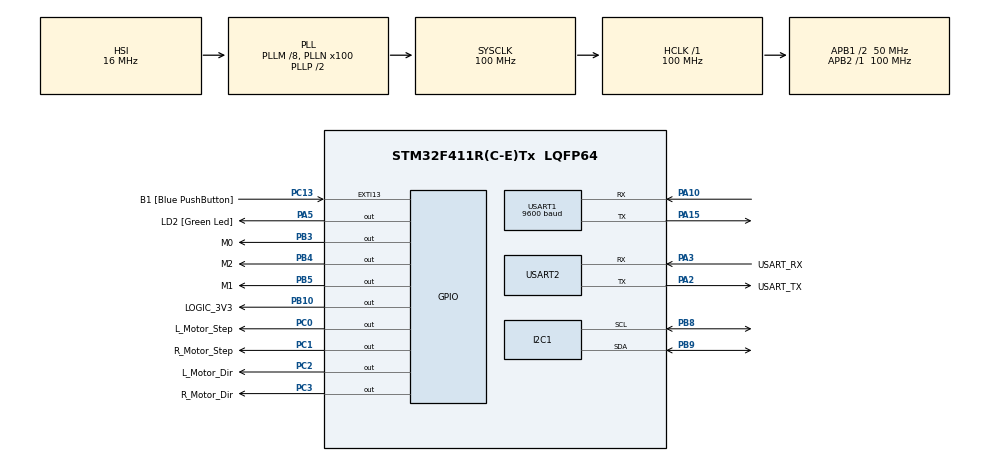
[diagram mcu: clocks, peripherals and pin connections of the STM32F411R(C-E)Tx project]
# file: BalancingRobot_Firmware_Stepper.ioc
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I2C1.I2C_Mode=I2C_Fast
Mcu.Family=STM32F4
Mcu.Name=STM32F411R(C-E)Tx
Mcu.Package=LQFP64
NVIC.PriorityGroup=NVIC_PRIORITYGROUP_0
NVIC.TIM2_IRQn=true\:0\:1\:false\:true\:true\:2\:true
NVIC.TIM3_IRQn=true\:0\:0\:false\:true\:true\:1\:true
NVIC.TIM4_IRQn=true\:0\:3\:false\:true\:true\:4\:true
NVIC.USART1_IRQn=true\:0\:2\:false\:true\:true\:3\:true
PA10.Mode=Asynchronous
PA10.Signal=USART1_RX
PA15.Mode=Asynchronous
PA15.Signal=USART1_TX
PA2.GPIO_Label=USART_TX
PA2.Mode=Asynchronous
PA2.Signal=USART2_TX
PA3.GPIO_Label=USART_RX
PA3.Mode=Asynchronous
PA3.Signal=USART2_RX
PA5.GPIO_Label=LD2 [Green Led]
PA5.Signal=GPIO_Output
PB10.GPIO_Label=LOGIC_3V3
PB10.GPIO_Speed=GPIO_SPEED_FREQ_LOW
PB10.PinState=GPIO_PIN_SET
PB10.Signal=GPIO_Output
PB3.GPIO_Label=M0
PB3.Signal=GPIO_Output
PB4.GPIO_Label=M2
PB4.Signal=GPIO_Output
PB5.GPIO_Label=M1
PB5.Signal=GPIO_Output
PB8.GPIO_PuPdOD=GPIO_NOPULL
PB8.Mode=I2C
PB8.Signal=I2C1_SCL
PB9.GPIO_PuPdOD=GPIO_NOPULL
PB9.Mode=I2C
PB9.Signal=I2C1_SDA
PC0.GPIO_Label=L_Motor_Step
PC0.GPIO_Speed=GPIO_SPEED_FREQ_VERY_HIGH
PC0.PinState=GPIO_PIN_SET
PC0.Signal=GPIO_Output
PC1.GPIO_Label=R_Motor_Step
PC1.GPIO_Speed=GPIO_SPEED_FREQ_VERY_HIGH
PC1.PinState=GPIO_PIN_SET
PC1.Signal=GPIO_Output
PC13-ANTI_TAMP.GPIO_Label=B1 [Blue PushButton]
PC13-ANTI_TAMP.GPIO_ModeDefaultEXTI=GPIO_MODE_IT_FALLING
PC13-ANTI_TAMP.Signal=GPXTI13
PC2.GPIO_Label=L_Motor_Dir
PC2.GPIO_Speed=GPIO_SPEED_FREQ_VERY_HIGH
PC2.PinState=GPIO_PIN_SET
PC2.Signal=GPIO_Output
PC3.GPIO_Label=R_Motor_Dir
PC3.GPIO_Speed=GPIO_SPEED_FREQ_VERY_HIGH
PC3.PinState=GPIO_PIN_SET
PC3.Signal=GPIO_Output
ProjectManager.HeapSize=0x200
ProjectManager.StackSize=0x400
ProjectManager.TargetToolchain=MDK-ARM V5
RCC.48MHZClocksFreq_Value=50000000
RCC.AHBFreq_Value=100000000
RCC.APB1CLKDivider=RCC_HCLK_DIV2
RCC.APB1Freq_Value=50000000
RCC.APB1TimFreq_Value=100000000
RCC.APB2Freq_Value=100000000
RCC.APB2TimFreq_Value=100000000
RCC.CortexFreq_Value=100000000
RCC.FLatency-AdvancedSettings=FLASH_LATENCY_3
RCC.HCLKFreq_Value=100000000
RCC.HSE_VALUE=8000000
RCC.HSI_VALUE=16000000
RCC.LSE_VALUE=32768
RCC.PLLM=8
RCC.PLLN=100
RCC.SYSCLKFreq_VALUE=100000000
RCC.SYSCLKSource=RCC_SYSCLKSOURCE_PLLCLK
RCC.VCOOutputFreq_Value=200000000
TIM2.Period=100-1
TIM2.Prescaler=1000-1
TIM3.Period=20-1
TIM3.Prescaler=100-1
TIM4.Period=10000-1
TIM4.Prescaler=1500-1
TIM5.Period=500-1
TIM5.Prescaler=1000-1
USART1.BaudRate=9600
USART1.VirtualMode=VM_ASYNC
USART2.VirtualMode=VM_ASYNC
VP_TIM2_VS_ClockSourceINT.Mode=Internal
VP_TIM3_VS_ClockSourceINT.Mode=Internal
VP_TIM4_VS_ClockSourceINT.Mode=Internal
VP_TIM5_VS_ClockSourceINT.Mode=Internal
board=NUCLEO-F411RE

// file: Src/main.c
/**
  ******************************************************************************
  * @file           : main.c
  * @brief          : Main program body
  ******************************************************************************
  ** This notice applies to any and all portions of this file
  * that are not between comment pairs USER CODE BEGIN and
  * USER CODE END. Other portions of this file, whether
  * inserted by the user or by software development tools
  * are owned by their respective copyright owners.
  *
  * COPYRIGHT(c) 2018 STMicroelectronics
  *
  * Redistribution and use in source and binary forms, with or without modification,
  * are permitted provided that the following conditions are met:
  *   1. Redistributions of source code must retain the above copyright notice,
  *      this list of conditions and the following disclaimer.
  *   2. Redistributions in binary form must reproduce the above copyright notice,
  *      this list of conditions and the following disclaimer in the documentation
  *      and/or other materials provided with the distribution.
  *   3. Neither the name of STMicroelectronics nor the names of its contributors
  *      may be used to endorse or promote products derived from this software
  *      without specific prior written permission.
  *
  * THIS SOFTWARE IS PROVIDED BY THE COPYRIGHT HOLDERS AND CONTRIBUTORS "AS IS"
  * AND ANY EXPRESS OR IMPLIED WARRANTIES, INCLUDING, BUT NOT LIMITED TO, THE
  * IMPLIED WARRANTIES OF MERCHANTABILITY AND FITNESS FOR A PARTICULAR PURPOSE ARE
  * DISCLAIMED. IN NO EVENT SHALL THE COPYRIGHT HOLDER OR CONTRIBUTORS BE LIABLE
  * FOR ANY DIRECT, INDIRECT, INCIDENTAL, SPECIAL, EXEMPLARY, OR CONSEQUENTIAL
  * DAMAGES (INCLUDING, BUT NOT LIMITED TO, PROCUREMENT OF SUBSTITUTE GOODS OR
  * SERVICES; LOSS OF USE, DATA, OR PROFITS; OR BUSINESS INTERRUPTION) HOWEVER
  * CAUSED AND ON ANY THEORY OF LIABILITY, WHETHER IN CONTRACT, STRICT LIABILITY,
  * OR TORT (INCLUDING NEGLIGENCE OR OTHERWISE) ARISING IN ANY WAY OUT OF THE USE
  * OF THIS SOFTWARE, EVEN IF ADVISED OF THE POSSIBILITY OF SUCH DAMAGE.
  *
  ******************************************************************************
  */
#include "main.h"
#include "stm32f4xx_hal.h"
#include "i2c.h"
#include "tim.h"
#include "usart.h"
#include "gpio.h"

/* USER CODE BEGIN Includes */
#include "interrupt.h"
#include "app.h"

/* USER CODE END Includes */

/* USER CODE BEGIN PV */
/* Private variables ---------------------------------------------------------*/

/* USER CODE END PV */

void SystemClock_Config(void);
static void MX_NVIC_Init(void);

/* USER CODE BEGIN PFP */
/* Private function prototypes -----------------------------------------------*/

/* USER CODE END PFP */

int main(void)
{

  /* MCU Configuration----------------------------------------------------------*/

  /* Reset of all peripherals, Initializes the Flash interface and the Systick. */
  HAL_Init();

  /* Configure the system clock */
  SystemClock_Config();

  /* Initialize all configured peripherals */
  MX_GPIO_Init();
  MX_USART2_UART_Init();
  MX_USART1_UART_Init();
  MX_TIM2_Init();
  MX_TIM3_Init();
  MX_I2C1_Init();
  MX_TIM4_Init();
  MX_TIM5_Init();

  /* Initialize interrupts */
  MX_NVIC_Init();
  /* USER CODE BEGIN 2 */
	preTimeMPU = milliseconds;																						/* Variable Init for complementary filter */
	HAL_I2C_IsDeviceReady(&hi2c1, 0xD0, 1, 1000);													/* I2C Device(MPU) is Ready */
	HAL_TIM_Base_Start_IT(&htim2);																				/* millisecond Timer Start */
//	HAL_GPIO_WritePin(GPIOA, LD2_Pin, GPIO_PIN_RESET);										/* LD2 LED Test */
	printf("Start\r\n");																									/* Start Message to PC */
	MPU_Stabilize();																											/* Sensor Stabilize */
	SetStepOption(QUATER_STEP);																						/* DRV8825(Stepper Driver) mode(full step, half step, 1/4 step, ...) set up */
	HAL_UART_Receive_IT(&huart1, (uint8_t*)(&pc2mcu), sizeof(pc2mcu));		/* Rx Interrupt Enable */
	HAL_TIM_Base_Start_IT(&htim4);																				/* Monitoring Timer Start */
	flag.robot_is_ready = 1;																							/* ready flag set */
  /* USER CODE END 2 */

  /* Infinite loop */
  /* USER CODE BEGIN WHILE */
  while (1)
  {
		ResetControl();																											/* Reset */
		while(!isStand())																										/* if not stand */
			GET_ANGLE();
		StartControl();																											/* Start */
		while(!isFall())																										/* Normal */
			GET_ANGLE();
  /* USER CODE END WHILE */

  }

}

void SystemClock_Config(void)
{

  RCC_OscInitTypeDef RCC_OscInitStruct;
  RCC_ClkInitTypeDef RCC_ClkInitStruct;

    /**Configure the main internal regulator output voltage
    */
  __HAL_RCC_PWR_CLK_ENABLE();

  __HAL_PWR_VOLTAGESCALING_CONFIG(PWR_REGULATOR_VOLTAGE_SCALE1);

    /**Initializes the CPU, AHB and APB busses clocks
    */
  RCC_OscInitStruct.OscillatorType = RCC_OSCILLATORTYPE_HSI;
  RCC_OscInitStruct.HSIState = RCC_HSI_ON;
  RCC_OscInitStruct.HSICalibrationValue = 16;
  RCC_OscInitStruct.PLL.PLLState = RCC_PLL_ON;
  RCC_OscInitStruct.PLL.PLLSource = RCC_PLLSOURCE_HSI;
  RCC_OscInitStruct.PLL.PLLM = 8;
  RCC_OscInitStruct.PLL.PLLN = 100;
  RCC_OscInitStruct.PLL.PLLP = RCC_PLLP_DIV2;
  RCC_OscInitStruct.PLL.PLLQ = 4;
  if (HAL_RCC_OscConfig(&RCC_OscInitStruct) != HAL_OK)
  {
    _Error_Handler(__FILE__, __LINE__);
  }

    /**Initializes the CPU, AHB and APB busses clocks
    */
  RCC_ClkInitStruct.ClockType = RCC_CLOCKTYPE_HCLK|RCC_CLOCKTYPE_SYSCLK
                              |RCC_CLOCKTYPE_PCLK1|RCC_CLOCKTYPE_PCLK2;
  RCC_ClkInitStruct.SYSCLKSource = RCC_SYSCLKSOURCE_PLLCLK;
  RCC_ClkInitStruct.AHBCLKDivider = RCC_SYSCLK_DIV1;
  RCC_ClkInitStruct.APB1CLKDivider = RCC_HCLK_DIV2;
  RCC_ClkInitStruct.APB2CLKDivider = RCC_HCLK_DIV1;

  if (HAL_RCC_ClockConfig(&RCC_ClkInitStruct, FLASH_LATENCY_3) != HAL_OK)
  {
    _Error_Handler(__FILE__, __LINE__);
  }

    /**Configure the Systick interrupt time
    */
  HAL_SYSTICK_Config(HAL_RCC_GetHCLKFreq()/1000);

    /**Configure the Systick
    */
  HAL_SYSTICK_CLKSourceConfig(SYSTICK_CLKSOURCE_HCLK);

  /* SysTick_IRQn interrupt configuration */
  HAL_NVIC_SetPriority(SysTick_IRQn, 0, 0);
}

/**
  * @brief NVIC Configuration.
  * @retval None
  */
static void MX_NVIC_Init(void)
{
  /* TIM3_IRQn interrupt configuration */
  HAL_NVIC_SetPriority(TIM3_IRQn, 0, 0);
  HAL_NVIC_EnableIRQ(TIM3_IRQn);
  /* TIM2_IRQn interrupt configuration */
  HAL_NVIC_SetPriority(TIM2_IRQn, 0, 1);
  HAL_NVIC_EnableIRQ(TIM2_IRQn);
  /* USART1_IRQn interrupt configuration */
  HAL_NVIC_SetPriority(USART1_IRQn, 0, 2);
  HAL_NVIC_EnableIRQ(USART1_IRQn);
  /* TIM4_IRQn interrupt configuration */
  HAL_NVIC_SetPriority(TIM4_IRQn, 0, 3);
  HAL_NVIC_EnableIRQ(TIM4_IRQn);
}

void _Error_Handler(char *file, int line)
{
  /* USER CODE BEGIN Error_Handler_Debug */
  /* User can add his own implementation to report the HAL error return state */
	HAL_GPIO_WritePin(GPIOA, LD2_Pin, GPIO_PIN_SET);
  while(1)
  {

  }
  /* USER CODE END Error_Handler_Debug */
}

/************************ (C) COPYRIGHT STMicroelectronics *****END OF FILE****/
